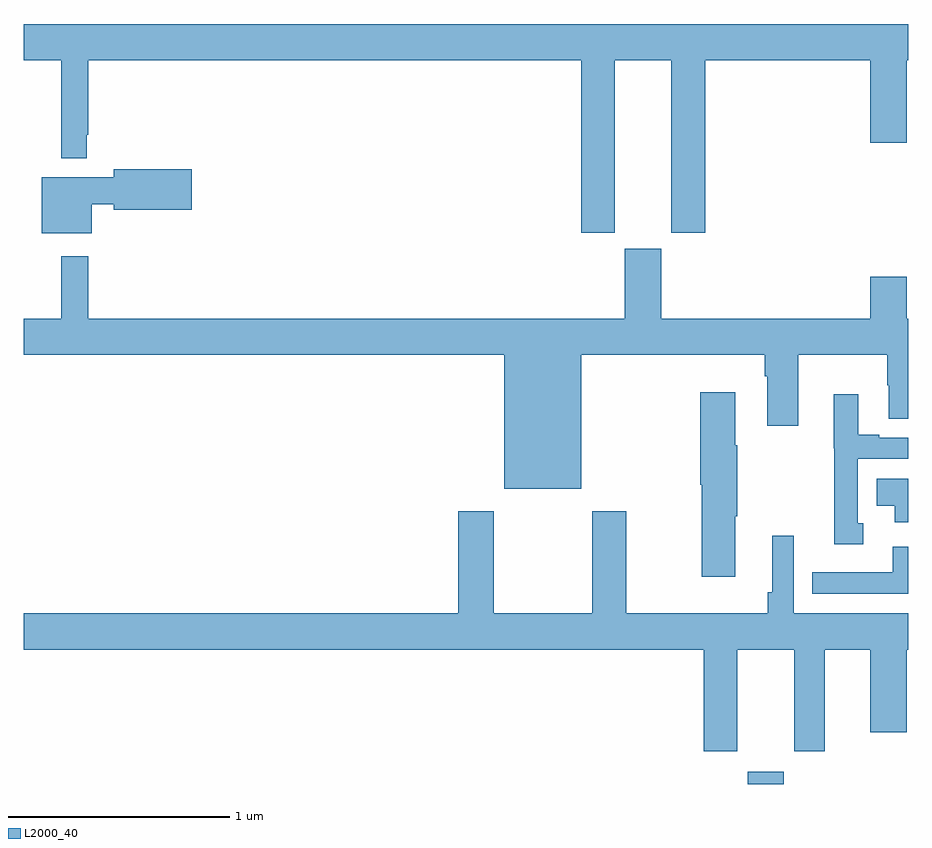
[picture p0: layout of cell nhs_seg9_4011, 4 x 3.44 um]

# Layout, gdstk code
import gdstk
lib = gdstk.Library(unit=1e-6, precision=1e-09)
def R(c, l, rs):  # rectangles x0, y0, x1, y1
    for r in rs: c.add(gdstk.rectangle(r[:2], r[2:], *l))
def P(c, l, *ps):  # polygons
    for p in ps: c.add(gdstk.Polygon(p, *l))
L2000_40 = (2000, 40)

nhs_seg9_4011 = lib.new_cell('nhs_seg9_4011')
R(nhs_seg9_4011, L2000_40, [(344.273,1174.5,344.437,1174.555)])
P(nhs_seg9_4011, L2000_40, [(343.672,1177.772),(343.928,1177.772),(343.928,1176.993),(344.081,1176.993),(344.081,1177.772),(344.828,1177.772),(344.828,1177.398),(344.992,1177.398),(344.992,1177.772),(345,1177.772),(345,1177.936),(341,1177.936),(341,1177.772),(341.171,1177.772),(341.171,1177.328),(341.286,1177.328),(341.286,1177.435),(341.293,1177.435),(341.293,1177.772),(343.52,1177.772),(343.52,1176.993),(343.672,1176.993)],
  [(341.308,1177.12),(341.408,1177.12),(341.408,1177.097),(341.761,1177.097),(341.761,1177.28),(341.408,1177.28),(341.408,1177.243),(341.081,1177.243),(341.081,1176.989),(341.308,1176.989)],
  [(343.882,1176.921),(343.718,1176.921),(343.718,1176.604),(341.293,1176.604),(341.293,1176.886),(341.171,1176.886),(341.171,1176.604),(341,1176.604),(341,1176.44),(343.172,1176.44),(343.172,1175.834),(343.522,1175.834),(343.522,1176.44),(344.351,1176.44),(344.351,1176.344),(344.363,1176.344),(344.363,1176.12),(344.503,1176.12),(344.503,1176.44),(344.905,1176.44),(344.905,1176.302),(344.912,1176.302),(344.912,1176.151),(345,1176.151),(345,1176.604),(344.992,1176.604),(344.992,1176.793),(344.828,1176.793),(344.828,1176.604),(343.882,1176.604)],
  [(344.218,1175.71),(344.226,1175.71),(344.226,1176.032),(344.218,1176.032),(344.218,1176.271),(344.06,1176.271),(344.06,1175.853),(344.065,1175.853),(344.065,1175.436),(344.218,1175.436)],
  [(344.797,1175.679),(344.772,1175.679),(344.772,1175.97),(345,1175.97),(345,1176.066),(344.869,1176.066),(344.869,1176.079),(344.773,1176.079),(344.773,1176.262),(344.663,1176.262),(344.663,1176.017),(344.664,1176.017),(344.664,1175.585),(344.797,1175.585)],
  [(345,1175.881),(344.857,1175.881),(344.857,1175.759),(344.939,1175.759),(344.939,1175.684),(345,1175.684)],
  [(344.227,1175.108),(344.483,1175.108),(344.483,1174.647),(344.623,1174.647),(344.623,1175.108),(344.828,1175.108),(344.828,1174.734),(344.992,1174.734),(344.992,1175.108),(345,1175.108),(345,1175.272),(344.481,1175.272),(344.481,1175.623),(344.384,1175.623),(344.384,1175.368),(344.365,1175.368),(344.365,1175.272),(343.725,1175.272),(343.725,1175.734),(343.57,1175.734),(343.57,1175.272),(343.125,1175.272),(343.125,1175.734),(342.965,1175.734),(342.965,1175.272),(341,1175.272),(341,1175.108),(344.075,1175.108),(344.075,1174.647),(344.227,1174.647)],
  [(345,1175.572),(344.93,1175.572),(344.93,1175.457),(344.566,1175.457),(344.566,1175.361),(345,1175.361)])

lib.write_gds('nhs_seg9_4011.gds')
